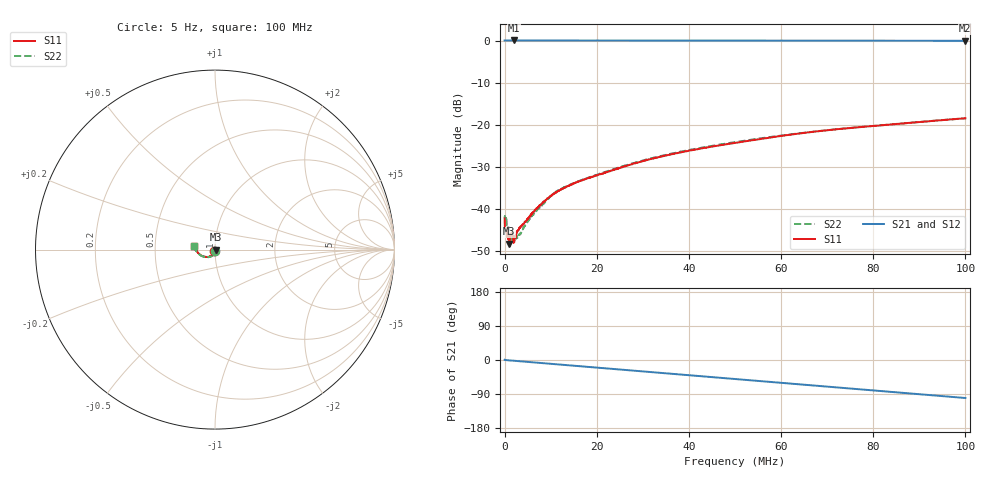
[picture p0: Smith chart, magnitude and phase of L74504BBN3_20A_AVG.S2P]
!Agilent Technologies,E5061B,MY49102235,A.02.00
!Date: Tue Jul 11 15:29:24 2023
!Data & Calibration Information:
!Freq	S11:SOLT2(ON)	S21:SOLT2(ON)	S12:SOLT2(ON)	S22:SOLT2(ON)
# Hz S RI R 50
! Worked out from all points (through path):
!   1600 points, 5 Hz to 100 MHz, reference 50 ohm
!   highest |S21| = 0.02 dB at 2.001 MHz (marker M1); lowest = -0.1 dB at 99.81 MHz (marker M2)
!   group delay of S21, straight-line fit = 2.79 ns
!   lowest |S11| = -48.3 dB at 1.001 MHz (marker M3), VSWR 1.01, Z = 50.4 - j0.0814 ohm
!   |S11| at or under -10 dB: start of sweep to end of sweep
!   |S22| runs from -48.9 to -18.5 dB; largest |S21 - S12| = 0.0026
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5  -0.00519 -0.00566  1.002 0.00805  1 0.0102  -0.00159 -0.00756
437778.6  0.00514 -0.00059  1.001 -0.0054  1.001 -0.00604  0.00662 -0.00226
625395.8  0.00509 -0.000656  1.002 -0.0104  1.002 -0.00998  0.0061 -0.00104
1000630  0.00378 -0.000808  1.001 -0.0163  1.001 -0.016  0.00514 -0.00173
1563482  0.00436 -0.00295  1.001 -0.0262  1.001 -0.0254  0.00315 -0.00354
2001256  0.00302 -0.00289  1.002 -0.035  1.001 -0.0346  0.00316 -0.0026
2376490  0.0033 -0.00307  0.9997 -0.0412  1 -0.0415  0.00393 -0.00274
3252037  0.00424 -0.00429  0.9994 -0.0567  0.9992 -0.0566  0.00313 -0.00378
4690436  0.00373 -0.00612  0.9977 -0.0819  0.9974 -0.0818  0.00342 -0.00578
6003757  0.0033 -0.00806  0.9954 -0.1048  0.9955 -0.1045  0.00286 -0.00789
9505946  0.00143 -0.0134  0.9871 -0.1658  0.9873 -0.1655  0.000811 -0.0133
1.156974e7  -9.22e-05 -0.0163  0.9807 -0.2012  0.9803 -0.201  -0.000972 -0.0164
1.669794e7  -0.00404 -0.0214  0.958 -0.2883  0.9579 -0.288  -0.00439 -0.0215
2.582865e7  -0.0116 -0.0294  0.9 -0.4371  0.8998 -0.437  -0.00943 -0.0309
3.333334e7  -0.0207 -0.0355  0.8343 -0.5512  0.8343 -0.5509  -0.0192 -0.0369
5.003127e7  -0.0449 -0.0409  0.6395 -0.7676  0.6394 -0.7673  -0.0452 -0.0424
6.672921e7  -0.0749 -0.0341  0.3903 -0.9177  0.3906 -0.9178  -0.0742 -0.0352
7.53596e7  -0.0885 -0.0243  0.2477 -0.965  0.2479 -0.9649  -0.088 -0.026
8.33646e7  -0.0993 -0.0116  0.1106 -0.9895  0.1106 -0.9896  -0.0992 -0.0142
9.155722e7  -0.1093 0.00387  -0.032 -0.994  -0.032 -0.994  -0.1097 0.00016
9.981238e7  -0.1169 0.0213  -0.1743 -0.9778  -0.1742 -0.9781  -0.1176 0.0182
1e8  -0.1172 0.0217  -0.1777 -0.9774  -0.1775 -0.9775  -0.1177 0.0185
